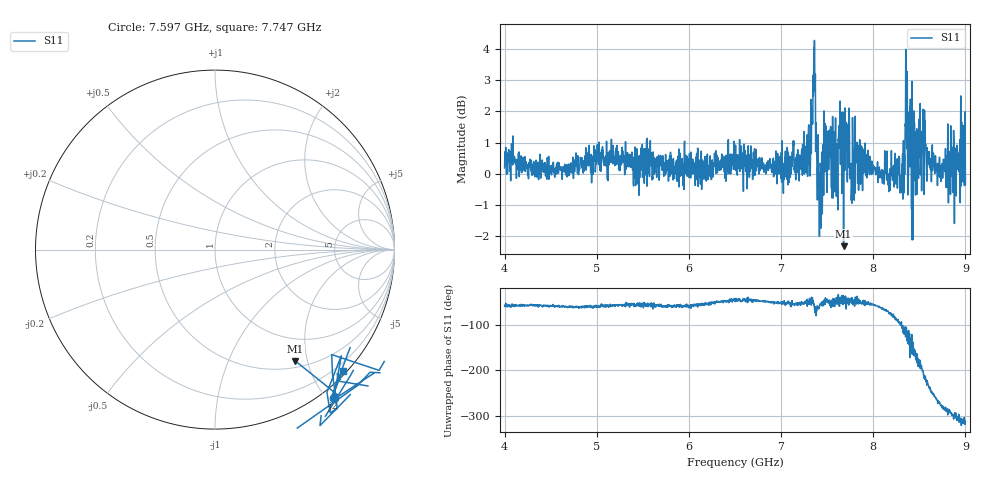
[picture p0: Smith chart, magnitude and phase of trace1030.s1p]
! Created with skrf 1.8.0 (http://scikit-rf.org).
# Hz S RI R 50.0
!freq ReS11 ImS11
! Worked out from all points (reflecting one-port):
!   1601 points, 4 GHz to 9 GHz, reference 50 ohm
!   lowest |S11| = -2.3 dB at 7.678 GHz (marker M1), VSWR 7.50, Z = 30.1 - j89.9 ohm
!   phase of S11 starts at -57 deg and turns -255 deg over the sweep
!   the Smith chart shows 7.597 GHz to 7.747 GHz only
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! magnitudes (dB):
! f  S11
! 4 GHz  0.2
! 4.625 GHz  -0.2
! 5.25 GHz  0.1
! 5.875 GHz  0.1
! 6.5 GHz  0.1
! 7.125 GHz  0.4
! 7.294 GHz  0.3
! 7.328 GHz  0.6
! 7.347 GHz  3.2
! 7.372 GHz  3.2
! 7.412 GHz  0.0
! 7.438 GHz  -0.4
! 7.491 GHz  0.2
! 7.591 GHz  1.8
! 7.65 GHz  1.1
! 7.678 GHz  -2.3
! 7.75 GHz  0.3
! 7.769 GHz  -1.0
! 7.828 GHz  0.2
! 8.309 GHz  0.1
! 8.344 GHz  1.0
! 8.375 GHz  -0.7
! 8.447 GHz  1.6
! 8.459 GHz  -0.7
! 8.519 GHz  1.0
! 8.719 GHz  0.5
! 8.972 GHz  0.8
! 9 GHz  -0.4
